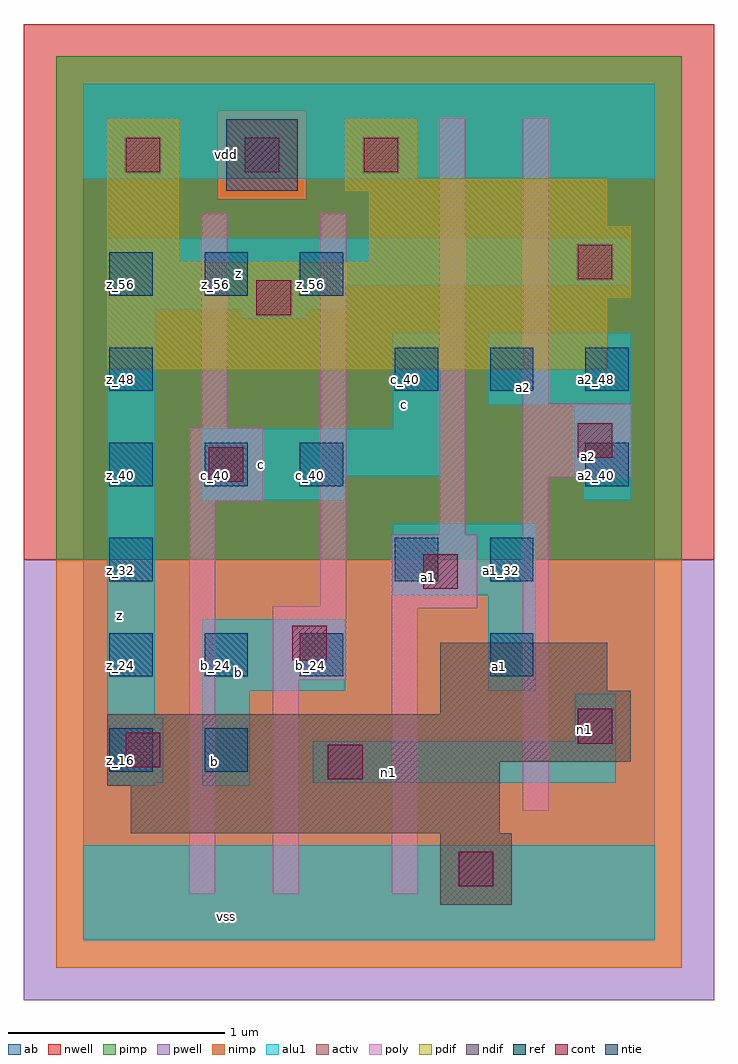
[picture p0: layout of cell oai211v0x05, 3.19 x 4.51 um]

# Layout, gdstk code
import gdstk
lib = gdstk.Library(unit=1e-6, precision=2.5e-09)
def R(c, l, rs):  # rectangles x0, y0, x1, y1
    for r in rs: c.add(gdstk.rectangle(r[:2], r[2:], *l))
def A(c, l, x, y, w, h, nx, ny, dx, dy):  # array of equal rectangles
    R(c, l, [(x+i*dx, y+j*dy, x+i*dx+w, y+j*dy+h) for i in range(nx) for j in range(ny)])
ndif = (3, 0)
pdif = (4, 0)
ntie = (5, 0)
ref = (24, 0)
cont = (25, 0)
pwell = (41, 0)
nwell = (42, 0)
activ = (43, 0)
pimp = (44, 0)
nimp = (45, 0)
poly = (46, 0)
alu1 = (49, 0)
ab = (63, 0)

oai211v0x05 = lib.new_cell('oai211v0x05')
R(oai211v0x05, ndif, [(1.65,0.165,1.98,0.495), (0.22,0.495,1.925,0.715), (0.11,0.715,1.925,0.825), (0.11,0.825,2.53,1.045), (1.65,1.045,2.53,1.155), (1.65,1.155,2.42,1.375)])
R(oai211v0x05, pdif, [(0.11,2.64,2.42,2.97), (0.11,2.97,2.53,3.135), (0.11,3.135,0.44,3.795), (1.32,3.135,2.53,3.3), (1.32,3.3,2.42,3.465), (1.21,3.465,2.42,3.52), (1.21,3.52,1.54,3.795)])
R(oai211v0x05, ntie, [(0.66,3.465,0.99,3.795)])
A(oai211v0x05, ref, 0.12, 0.78, 0.2, 0.2, 1, 3, 0, 0.88)
A(oai211v0x05, ref, 0.12, 1.22, 0.2, 0.2, 3, 3, 0.44, 0.88)
A(oai211v0x05, ref, 1.44, 2.54, 0.2, 0.2, 3, 1, 0.44, 0)
R(oai211v0x05, ref, [(0.56,0.78,0.76,0.98), (1.88,1.22,2.08,1.42), (1.44,1.66,1.64,1.86), (1.88,1.66,2.08,1.86), (2.32,2.1,2.52,2.3)])
A(oai211v0x05, cont, 0.195, 3.55, 0.16, 0.16, 3, 1, 0.55, 0)
R(oai211v0x05, cont, [(1.735,0.25,1.895,0.41), (1.13,0.745,1.29,0.905), (0.195,0.8,0.355,0.96), (2.285,0.91,2.445,1.07), (0.965,1.295,1.125,1.455), (1.57,1.625,1.73,1.785), (0.58,2.12,0.74,2.28), (2.285,2.23,2.445,2.39), (0.8,2.89,0.96,3.05), (2.285,3.055,2.445,3.215)])
R(oai211v0x05, pwell, [(-0.275,-0.275,2.915,1.76)])
R(oai211v0x05, nwell, [(-0.275,1.76,2.915,4.235)])
R(oai211v0x05, activ, [(1.65,0.165,1.98,0.495), (0.22,0.495,1.925,0.715), (0.11,0.715,1.925,0.825), (0.11,0.825,2.53,1.045), (1.65,1.045,2.53,1.155), (1.65,1.155,2.42,1.375), (0.11,2.64,2.42,2.97), (0.11,2.97,2.53,3.135), (0.11,3.135,0.44,3.795), (1.32,3.135,2.53,3.3), (1.32,3.3,2.42,3.465), (0.66,3.465,0.99,3.795), (1.21,3.465,2.42,3.52), (1.21,3.52,1.54,3.795)])
R(oai211v0x05, pimp, [(-0.125,1.76,2.765,3.425), (-0.125,3.425,0.62,3.835), (1.03,3.425,2.765,3.835), (-0.125,3.835,2.765,4.085)])
R(oai211v0x05, nimp, [(-0.125,-0.125,2.765,1.76), (0.62,3.425,1.03,3.835)])
R(oai211v0x05, poly, [(0.49,0.215,0.61,2.03), (0.875,0.215,0.995,1.205), (1.425,0.215,1.545,1.535), (2.03,0.6,2.15,2.14), (0.875,1.205,1.215,1.545), (1.425,1.535,1.82,1.875), (1.095,1.545,1.215,3.36), (1.645,1.875,1.765,3.8), (0.49,2.03,0.83,2.37), (2.03,2.14,2.535,2.48), (0.545,2.37,0.665,3.36), (2.03,2.48,2.15,3.8)])
R(oai211v0x05, alu1, [(0,0,2.64,0.44), (0.11,0.715,0.33,0.73), (0.55,0.715,0.77,1.155), (0.11,0.73,0.37,1.03), (1.06,0.73,2.46,0.92), (2.27,0.92,2.46,1.14), (0.11,1.03,0.33,2.915), (0.55,1.155,1.21,1.485), (1.87,1.155,2.09,1.595), (1.43,1.595,2.09,1.925), (0.55,2.035,1.21,2.145), (2.31,2.035,2.53,2.16), (0.55,2.145,1.65,2.365), (2.27,2.16,2.53,2.475), (1.43,2.365,1.65,2.805), (1.87,2.475,2.53,2.805), (0.73,2.875,1.03,2.915), (0.11,2.915,1.21,3.025), (0.11,3.025,2.53,3.245), (0,3.52,2.64,3.96)])
R(oai211v0x05, ab, [(0,0,2.64,3.96)])
oai211v0x05.add(gdstk.Label('vss', (0.66,0.11), layer=49, texttype=0))
oai211v0x05.add(gdstk.Label('n1', (1.41,0.7775), layer=49, texttype=0))
oai211v0x05.add(gdstk.Label('n1', (2.3175,0.975), layer=49, texttype=0))
oai211v0x05.add(gdstk.Label('b', (0.605,0.825), layer=49, texttype=0))
oai211v0x05.add(gdstk.Label('a1', (1.925,1.265), layer=49, texttype=0))
oai211v0x05.add(gdstk.Label('b', (0.715,1.2375), layer=49, texttype=0))
oai211v0x05.add(gdstk.Label('a1', (1.595,1.6775), layer=49, texttype=0))
oai211v0x05.add(gdstk.Label('a2', (2.335,2.2375), layer=49, texttype=0))
oai211v0x05.add(gdstk.Label('c', (0.825,2.2), layer=49, texttype=0))
oai211v0x05.add(gdstk.Label('a2', (2.035,2.5575), layer=49, texttype=0))
oai211v0x05.add(gdstk.Label('c', (1.485,2.475), layer=49, texttype=0))
oai211v0x05.add(gdstk.Label('z', (0.165,1.5), layer=49, texttype=0))
oai211v0x05.add(gdstk.Label('z', (0.715,3.08), layer=49, texttype=0))
oai211v0x05.add(gdstk.Label('vdd', (0.66,3.63), layer=49, texttype=0))
oai211v0x05.add(gdstk.Label('b_16', (0.61,0.83), layer=24, texttype=0))
oai211v0x05.add(gdstk.Label('b_24', (0.61,1.27), layer=24, texttype=0))
oai211v0x05.add(gdstk.Label('c_40', (0.61,2.15), layer=24, texttype=0))
oai211v0x05.add(gdstk.Label('z_56', (0.61,3.03), layer=24, texttype=0))
oai211v0x05.add(gdstk.Label('b_24', (1.05,1.27), layer=24, texttype=0))
oai211v0x05.add(gdstk.Label('c_40', (1.05,2.15), layer=24, texttype=0))
oai211v0x05.add(gdstk.Label('z_56', (1.05,3.03), layer=24, texttype=0))
oai211v0x05.add(gdstk.Label('a1_32', (1.49,1.71), layer=24, texttype=0))
oai211v0x05.add(gdstk.Label('c_40', (1.49,2.59), layer=24, texttype=0))
oai211v0x05.add(gdstk.Label('a1_24', (1.93,1.27), layer=24, texttype=0))
oai211v0x05.add(gdstk.Label('a1_32', (1.93,1.71), layer=24, texttype=0))
oai211v0x05.add(gdstk.Label('a2_48', (1.93,2.59), layer=24, texttype=0))
oai211v0x05.add(gdstk.Label('z_16', (0.17,0.83), layer=24, texttype=0))
oai211v0x05.add(gdstk.Label('z_24', (0.17,1.27), layer=24, texttype=0))
oai211v0x05.add(gdstk.Label('z_32', (0.17,1.71), layer=24, texttype=0))
oai211v0x05.add(gdstk.Label('z_40', (0.17,2.15), layer=24, texttype=0))
oai211v0x05.add(gdstk.Label('z_48', (0.17,2.59), layer=24, texttype=0))
oai211v0x05.add(gdstk.Label('z_56', (0.17,3.03), layer=24, texttype=0))
oai211v0x05.add(gdstk.Label('a2_40', (2.37,2.15), layer=24, texttype=0))
oai211v0x05.add(gdstk.Label('a2_48', (2.37,2.59), layer=24, texttype=0))

lib.write_gds('oai211v0x05.gds')
